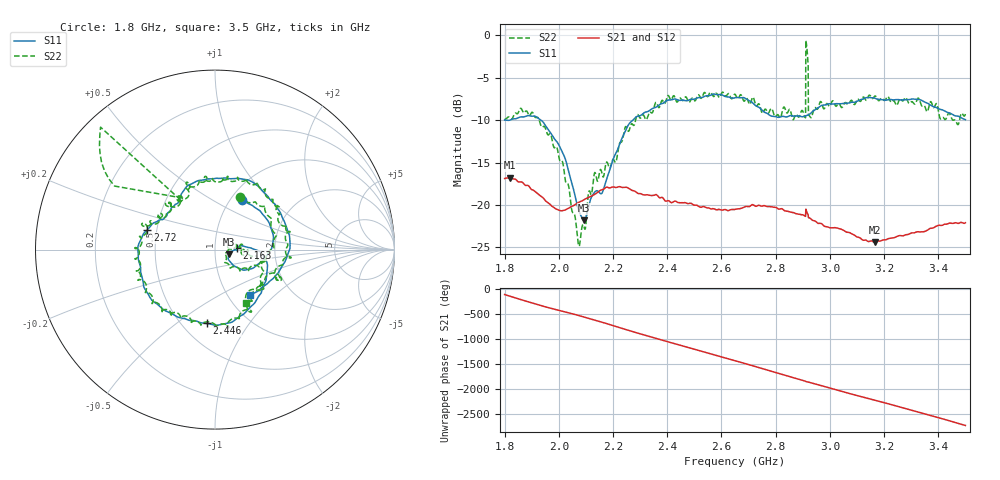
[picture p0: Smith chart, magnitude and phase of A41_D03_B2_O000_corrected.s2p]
! Created with skrf 1.9.0 (http://scikit-rf.org).
# Hz S RI R 50.0
!freq ReS11 ImS11 ReS21 ImS21 ReS12 ImS12 ReS22 ImS22
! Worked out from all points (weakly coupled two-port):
!   1601 points, 1.8 GHz to 3.5 GHz, reference 50 ohm
!   highest |S21| = -16.78 dB at 1.818 GHz (marker M1); lowest = -24.4 dB at 3.165 GHz (marker M2)
!   lowest |S11| = -21.8 dB at 2.093 GHz (marker M3), VSWR 1.18, Z = 58.3 - j3.02 ohm
!   |S11| at or under -10 dB: 1.805 GHz to 1.818 GHz (12.93 MHz wide, 0.714 % of centre); 1.934 GHz to 2.273 GHz (338.7 MHz wide, 16.1 % of centre)
!   |S22| runs from -24.9 to -0.6 dB; largest |S21 - S12| = 0.0024
!   S11 on the Smith chart (normalised r, x): 1.8 GHz: 1.13, +0.70; 2.163 GHz: 1.28, +0.03; 2.446 GHz: 0.66, -0.65; 2.72 GHz: 0.44, +0.12; 3.5 GHz: 1.26, -0.71
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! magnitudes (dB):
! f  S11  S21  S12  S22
! 1.8 GHz  -10.0  -16.9  -16.9  -9.8
! 1.818 GHz  -10.0  -16.8  -16.8  -9.7
! 1.968 GHz  -11.4  -19.9  -20.0  -11.6
! 2.014 GHz  -13.8  -20.7  -20.7  -14.9
! 2.072 GHz  -20.5  -19.7  -19.7  -24.7
! 2.084 GHz  -21.4  -19.5  -19.5  -22.9
! 2.093 GHz  -21.8  -19.4  -19.4  -22.6
! 2.13 GHz  -18.6  -18.8  -18.8  -16.4
! 2.163 GHz  -18.3  -18.2  -18.1  -16.7
! 2.258 GHz  -10.5  -18.0  -18.0  -11.3
! 2.367 GHz  -8.3  -19.0  -19.0  -8.5
! 2.446 GHz  -7.7  -19.7  -19.7  -7.4
! 2.65 GHz  -7.4  -20.5  -20.5  -6.9
! 2.72 GHz  -8.1  -20.0  -20.0  -7.5
! 2.869 GHz  -9.5  -20.9  -21.0  -9.7
! 2.902 GHz  -9.6  -21.2  -21.2  -9.0
! 2.911 GHz  -9.5  -20.5  -20.5  -0.6
! 2.92 GHz  -9.4  -21.2  -21.1  -3.6
! 2.934 GHz  -9.1  -21.8  -21.7  -9.5
! 3.165 GHz  -7.4  -24.4  -24.4  -7.2
! 3.217 GHz  -7.6  -24.0  -23.9  -7.3
! 3.5 GHz  -9.9  -22.1  -22.1  -9.3
